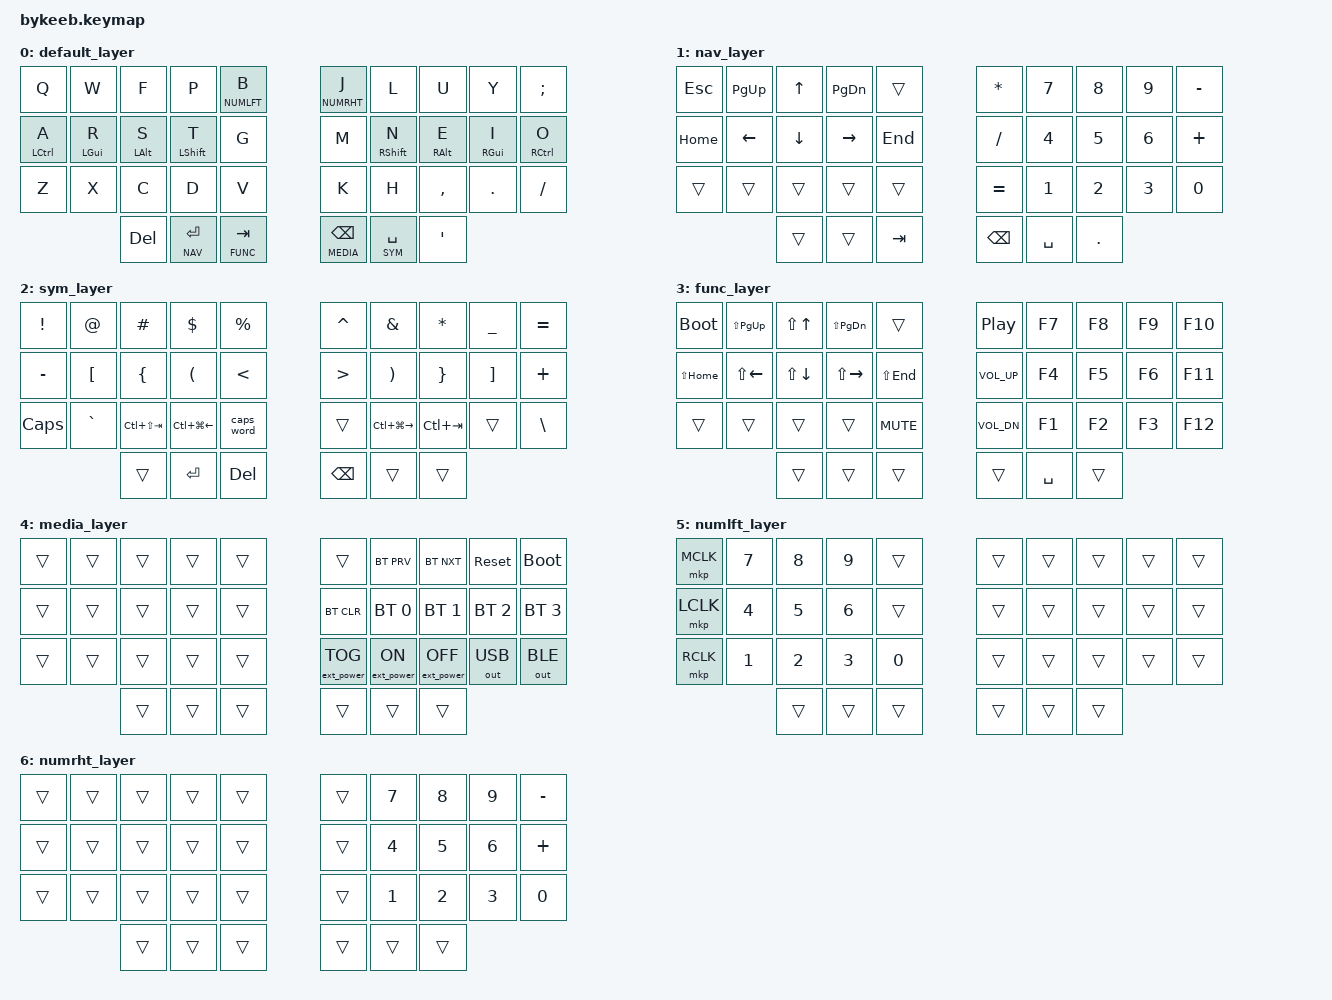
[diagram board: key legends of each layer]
/*
 * Copyright (c) 2020 The ZMK Contributors
 *
 * SPDX-License-Identifier: MIT
 */

 #include <behaviors.dtsi>
 #include <dt-bindings/zmk/keys.h>
 #include <dt-bindings/zmk/bt.h>
 #include <dt-bindings/zmk/ext_power.h>
 #include <dt-bindings/zmk/outputs.h>
 #include <dt-bindings/zmk/mouse.h>
 #include <behaviors/mouse_keys.dtsi>
 
 #define DEFAULT 0
 #define NAV     1
 #define SYM     2
 #define FUNC    3
 #define MEDIA   4
 #define NUMLFT  5
 #define NUMRHT  6
 
 &caps_word {
     continue-list = <UNDERSCORE MINUS>;
 };
&kscan0 {
    diode-direction = "row2col";

    row-gpios
        = <&xiao_d 1 (GPIO_ACTIVE_HIGH)>
        , <&xiao_d 2 (GPIO_ACTIVE_HIGH)>
        , <&xiao_d 3 (GPIO_ACTIVE_HIGH)>
        , <&xiao_d 7 (GPIO_ACTIVE_HIGH)>
        ;
    col-gpios
        = <&xiao_d 9 (GPIO_ACTIVE_HIGH | GPIO_PULL_DOWN)>
        , <&xiao_d 6 (GPIO_ACTIVE_HIGH | GPIO_PULL_DOWN)>
        , <&xiao_d 5 (GPIO_ACTIVE_HIGH | GPIO_PULL_DOWN)>
        , <&xiao_d 4 (GPIO_ACTIVE_HIGH | GPIO_PULL_DOWN)>
        , <&xiao_d 8 (GPIO_ACTIVE_HIGH | GPIO_PULL_DOWN)>
        ;
};
 / {
     combos {
         compatible = "zmk,combos";
         combo_undo {
             timeout-ms = <50>;
             key-positions = <20 21>;
             bindings = <&kp LC(Z)>;
         };
     };
 };
 
 / {
     behaviors {
         hm: homerow_mods {
             compatible = "zmk,behavior-hold-tap";
             #binding-cells = <2>;
             tapping-term-ms = <200>;
             flavor = "tap-preferred";
             bindings = <&kp>, <&kp>;
         };
         hs: homerow_shift {
             compatible = "zmk,behavior-hold-tap";
             #binding-cells = <2>;
             tapping-term-ms = <175>;
             flavor = "balanced";
             bindings = <&kp>, <&kp>;
         };
     };
 
     keymap {
         compatible = "zmk,keymap";
 
         default_layer {
             bindings = <
     &kp Q        &kp W        &kp F       &kp P         &lt NUMLFT B                                &lt NUMRHT J  &kp L        &kp U         &kp Y       &kp SEMI
     &hm LCTL A   &hm LGUI R   &hm LALT S  &hs LSHIFT T  &kp G                                       &kp M         &hs RSHIFT N &hm RALT E    &hm RGUI I  &hm RCTL O
     &kp Z        &kp X        &kp C       &kp D         &kp V                                       &kp K         &kp H        &kp COMMA     &kp DOT     &kp FSLH
                                           &kp DEL       &lt NAV RET  &lt FUNC TAB  &lt MEDIA BSPC   &lt SYM SPACE &kp SQT
             >;
         };
 
         nav_layer {
             bindings = <
     &kp ESC      &kp PG_UP    &kp UP      &kp PG_DN     &trans                                      &kp ASTRK     &kp N7       &kp N8        &kp N9      &kp MINUS
     &kp HOME     &kp LEFT     &kp DOWN    &kp RIGHT     &kp END                                     &kp FSLH      &kp N4       &kp N5        &kp N6      &kp PLUS
     &trans       &trans       &trans      &trans        &trans                                      &kp EQUAL     &kp N1       &kp N2        &kp N3      &kp N0
                                           &trans        &trans       &kp TAB       &kp BSPC         &kp SPACE     &kp DOT
             >;
         };
 
         sym_layer {
             bindings = <
     &kp EXCL     &kp AT       &kp HASH        &kp DLLR         &kp PRCNT                                   &kp CARET     &kp AMPS          &kp ASTRK     &kp UNDER   &kp EQUAL
     &kp MINUS    &kp LBKT     &kp LBRC        &kp LPAR         &kp LT                                      &kp GT        &kp RPAR          &kp RBRC      &kp RBKT    &kp PLUS
     &kp CAPS     &kp GRAVE    &kp LC(LS(TAB)) &kp LC(LG(LEFT)) &caps_word                                  &trans        &kp LC(LG(RIGHT)) &kp LC(TAB)   &trans      &kp BSLH
                                               &trans           &kp RET       &kp DEL        &kp BSPC       &trans        &trans
             >;
         };
 
         func_layer {
             bindings = <
     &bootloader  &kp LS(PG_UP) &kp LS(UP)   &kp LS(PG_DN) &trans                                      &kp C_PLAY_PAUSE &kp F7       &kp F8        &kp F9      &kp F10
     &kp LS(HOME) &kp LS(LEFT)  &kp LS(DOWN) &kp LS(RIGHT) &kp LS(END)                                 &kp K_VOL_UP     &kp F4       &kp F5        &kp F6      &kp F11
     &trans       &trans        &trans       &trans        &kp C_MUTE                                  &kp K_VOL_DN     &kp F1       &kp F2        &kp F3      &kp F12
                                             &trans        &trans        &trans       &trans           &kp SPACE        &trans
             >;
         };
 
         media_layer {
             bindings = <
     &trans       &trans        &trans       &trans        &trans                                     &trans             &bt BT_PRV        &bt BT_NXT         &sys_reset     &bootloader
     &trans       &trans        &trans       &trans        &trans                                     &bt BT_CLR         &bt BT_SEL 0      &bt BT_SEL 1       &bt BT_SEL 2   &bt BT_SEL 3
     &trans       &trans        &trans       &trans        &trans                                     &ext_power EP_TOG  &ext_power EP_ON  &ext_power EP_OFF  &out OUT_USB   &out OUT_BLE
                                             &trans        &trans        &trans        &trans         &trans             &trans
             >;
         };
 
         numlft_layer {
             bindings = <
     &mkp MCLK    &kp N7       &kp N8       &kp N9        &trans                                      &trans      &trans      &trans      &trans      &trans
     &mkp LCLK    &kp N4       &kp N5       &kp N6        &trans                                      &trans      &trans      &trans      &trans      &trans
     &mkp RCLK    &kp N1       &kp N2       &kp N3        &kp N0                                      &trans      &trans      &trans      &trans      &trans
                                            &trans        &trans        &trans         &trans         &trans      &trans
             >;
         };

         numrht_layer {
            bindings = <
                &trans       &trans       &trans       &trans        &trans                                      &trans      &kp N7       &kp N8        &kp N9      &kp MINUS
                &trans       &trans       &trans       &trans        &trans                                      &trans      &kp N4       &kp N5        &kp N6      &kp PLUS
                &trans       &trans       &trans       &trans        &trans                                      &trans      &kp N1       &kp N2        &kp N3      &kp N0
                                                    &trans        &trans        &trans         &trans         &trans      &trans
            >;
        };
     };
 };
 
